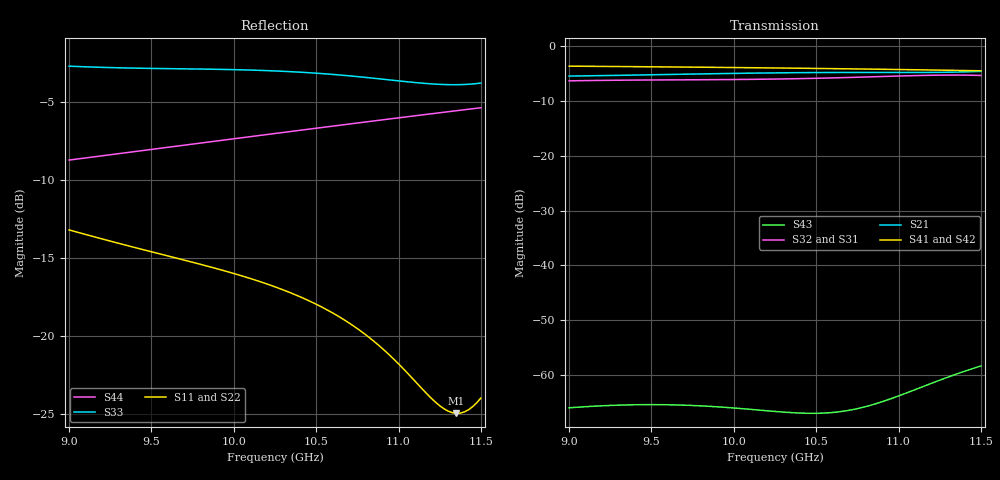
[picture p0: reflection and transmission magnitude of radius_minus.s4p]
! Generated from PyAEDT SolutionData; AEDT ExportNetworkData workaround
# GHz S MA R 50
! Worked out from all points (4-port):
!   101 points, 9 GHz to 11.5 GHz, reference 50 ohm
!   strongest paths, dB at 9 GHz, 9.625 GHz, 10.25 GHz, 10.88 GHz, 11.5 GHz:
!     S41: -3.6, -3.8, -4.0, -4.2, -4.5
!     S42: -3.6, -3.8, -4.0, -4.2, -4.5
!     S21: -5.4, -5.1, -4.9, -4.8, -4.6
!     S32: -6.3, -6.1, -6.0, -5.5, -5.3
!     S31: -6.3, -6.1, -6.0, -5.6, -5.4
!     S43: -66.0, -65.5, -66.7, -65.2, -58.4
!   lowest |S11| = -24.9 dB at 11.35 GHz (marker M1), VSWR 1.12, Z = 54.4 - j3.99 ohm
!   |S11| at or under -10 dB: start of sweep to end of sweep
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9  0.2184 157.7  0.5346 -171.3  0.4831 -73.7  0.6581 46.0
   0.5346 -171.3  0.2176 157.7  0.4833 -73.7  0.6582 -134.0
   0.4831 -73.7  0.4833 -73.7  0.7301 -147.3  0.0004998 -31.7
   0.6581 46.0  0.6582 -134.0  0.0004998 -31.7  0.3656 -114.7
9.55  0.1832 100.5  0.5508 128.4  0.4924 -165.5  0.6486 -16.4
      0.5508 128.4  0.1826 100.4  0.4927 -165.4  0.6485 163.7
      0.4924 -165.5  0.4927 -165.4  0.7175 87.5  0.0005337 -137.3
      0.6486 -16.4  0.6485 163.7  0.0005337 -137.3  0.3985 -173.4
9.9  0.164 65.1  0.5623 91.1  0.4953 137.8  0.6416 -54.6
     0.5623 91.1  0.1639 65.1  0.4958 137.9  0.6412 125.5
     0.4953 137.8  0.4958 137.9  0.7133 10.4  0.0005101 159.9
     0.6416 -54.6  0.6412 125.5  0.0005101 159.9  0.421 150.0
10.225  0.1452 32.4  0.5709 57.1  0.5006 86.0  0.6343 -89.3
        0.5709 57.1  0.1456 32.5  0.5013 86.0  0.6337 90.8
        0.5006 86.0  0.5013 86.0  0.7057 -60.1  0.0004663 108.2
        0.6343 -89.3  0.6337 90.8  0.0004663 108.2  0.4429 116.6
10.775  0.1033 -21.0  0.5768 1.3  0.5218 -2.2  0.62 -146.8
        0.5768 1.3  0.1042 -20.5  0.5228 -2.2  0.619 33.3
        0.5218 -2.2  0.5228 -2.2  0.6741 177.7  0.0005011 42.7
        0.62 -146.8  0.619 33.3  0.0005011 42.7  0.4821 60.5
11.35  0.05658 -40.3  0.5812 -52.7  0.5445 -100.4  0.6021 154.1
       0.5812 -52.7  0.05752 -39.2  0.5458 -100.4  0.6009 -25.8
       0.5445 -100.4  0.5458 -100.4  0.6369 30.8  0.001014 -42.8
       0.6021 154.1  0.6009 -25.8  0.001014 -42.8  0.5257 2.4
11.5  0.06331 -33.6  0.59 -65.8  0.54 -127.9  0.5969 138.8
      0.59 -65.8  0.06434 -32.6  0.5412 -127.8  0.5957 -41.1
      0.54 -127.9  0.5412 -127.8  0.6446 -12.9  0.001204 -72.0
      0.5969 138.8  0.5957 -41.1  0.001204 -72.0  0.5375 -12.8
